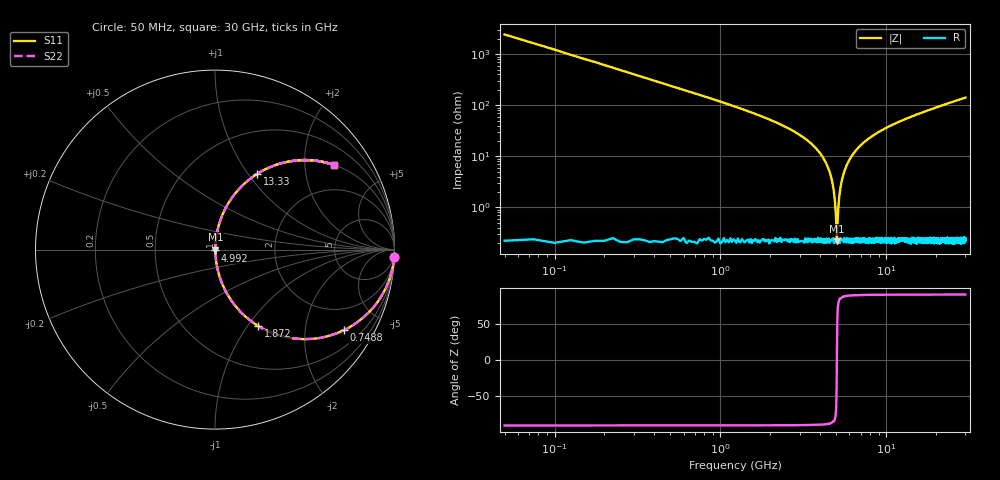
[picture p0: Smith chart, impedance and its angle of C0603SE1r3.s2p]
!	AVX Thin Film Operation 	Date: April 2014
!	Description: Accu-P® Series, Thin Film  SMD RF Capacitor
!	Part Number: 06031J1R3PBSTR
# MHZ S MA R 50
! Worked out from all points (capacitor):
!   1201 points, 50 MHz to 30 GHz, reference 50 ohm
!   read as one part in series: C = 1.3 pF near 199.8 MHz
!   lowest |Z| = 216 mohm at 5.042 GHz (marker M1)
!   series resonance near 5.038 GHz, so ESL is about 770 pH
!   S11 on the Smith chart (normalised r, x): 50 MHz: 1, -49; 748.8 MHz: 1.01, -3.20; 1.872 GHz: 1.00, -1.13; 4.992 GHz: 1.00, -0.01; 13.33 GHz: 1.00, +1.10; 30 GHz: 1.01, +2.81
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50  0.999 -2.3  0.041 87.7  0.041 87.7  0.999 -2.3
349.5  0.961 -16.0  0.276 74.0  0.276 74.0  0.961 -16.0
748.833  0.847 -32.0  0.53 57.9  0.53 57.9  0.847 -32.0
1198.083  0.693 -46.0  0.719 43.9  0.719 43.9  0.693 -46.0
1871.958  0.49 -60.4  0.87 29.4  0.87 29.4  0.49 -60.4
3319.542  0.204 -77.6  0.977 11.8  0.977 11.8  0.204 -77.6
4193.083  0.089 -83.5  0.994 5.1  0.994 5.1  0.089 -83.5
4667.292  0.037 -84.4  0.997 2.1  0.997 2.1  0.037 -84.4
4792.083  0.024 -83.3  0.997 1.4  0.997 1.4  0.024 -83.3
4991.75  0.004965 -63.0  0.998 0.3  0.998 0.3  0.004965 -63.0
5041.667  0.00227 9.9  0.998 -0.0  0.998 -0.0  0.00227 9.9
5141.5  0.01 76.7  0.998 -0.6  0.998 -0.6  0.01 76.7
5291.25  0.024 83.3  0.997 -1.4  0.997 -1.4  0.024 83.3
5490.917  0.042 84.5  0.997 -2.4  0.997 -2.4  0.042 84.5
6239.667  0.104 82.8  0.992 -6.0  0.992 -6.0  0.104 82.8
7712.208  0.208 77.4  0.976 -12.0  0.976 -12.0  0.208 77.4
10058.29  0.341 69.7  0.938 -19.9  0.938 -19.9  0.341 69.7
13327.83  0.482 61.0  0.874 -28.8  0.874 -28.8  0.482 61.0
15025  0.54 57.1  0.84 -32.7  0.84 -32.7  0.54 57.1
20016.67  0.67 47.8  0.741 -42.1  0.741 -42.1  0.67 47.8
25033.29  0.756 40.7  0.653 -49.1  0.653 -49.1  0.756 40.7
30000  0.814 35.4  0.579 -54.5  0.579 -54.5  0.814 35.4
